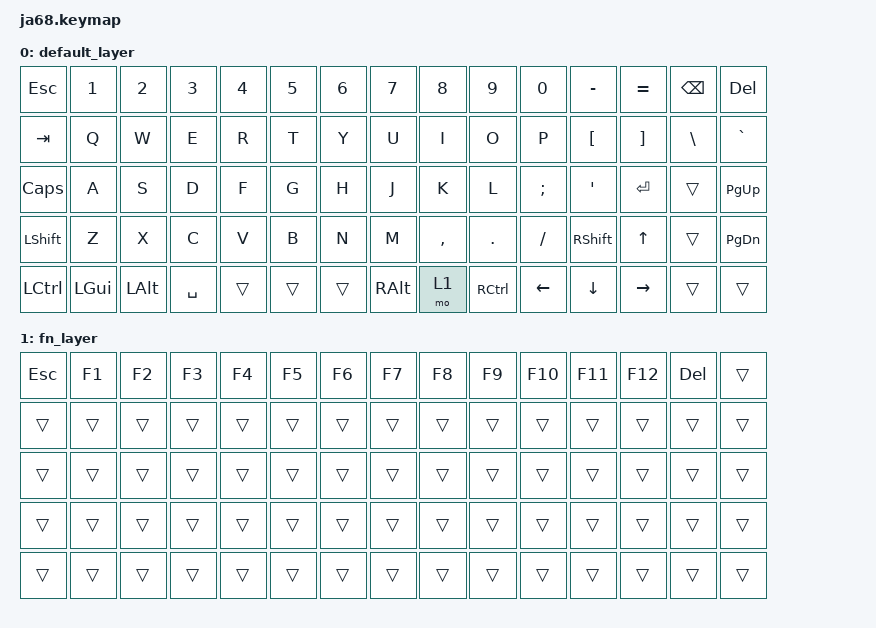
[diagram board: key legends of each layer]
/ {
  keymap {
    compatible = "zmk,keymap";

    default_layer {
      bindings = <
        &kp ESC   &kp N1    &kp N2    &kp N3    &kp N4    &kp N5    &kp N6    &kp N7    &kp N8    &kp N9    &kp N0    &kp MINUS &kp EQUAL &kp BSPC  &kp DEL
        &kp TAB   &kp Q     &kp W     &kp E     &kp R     &kp T     &kp Y     &kp U     &kp I     &kp O     &kp P     &kp LBKT  &kp RBKT  &kp BSLH  &kp GRAVE
        &kp CAPS  &kp A     &kp S     &kp D     &kp F     &kp G     &kp H     &kp J     &kp K     &kp L     &kp SEMI  &kp SQT   &kp ENTER &trans    &kp PG_UP
        &kp LSHFT &kp Z     &kp X     &kp C     &kp V     &kp B     &kp N     &kp M     &kp COMMA &kp DOT   &kp SLASH &kp RSHFT &kp UP    &trans    &kp PG_DN
        &kp LCTRL &kp LGUI  &kp LALT  &kp SPACE &trans    &trans    &trans    &kp RALT  &mo 1     &kp RCTRL &kp LEFT  &kp DOWN  &kp RIGHT &trans    &trans
      >;
    };

    fn_layer {
      bindings = <
        &kp ESC   &kp F1    &kp F2    &kp F3    &kp F4    &kp F5    &kp F6    &kp F7    &kp F8    &kp F9    &kp F10   &kp F11   &kp F12   &kp DEL   &trans
        &trans    &trans    &trans    &trans    &trans    &trans    &trans    &trans    &trans    &trans    &trans    &trans    &trans    &trans    &trans
        &trans    &trans    &trans    &trans    &trans    &trans    &trans    &trans    &trans    &trans    &trans    &trans    &trans    &trans    &trans
        &trans    &trans    &trans    &trans    &trans    &trans    &trans    &trans    &trans    &trans    &trans    &trans    &trans    &trans    &trans
        &trans    &trans    &trans    &trans    &trans    &trans    &trans    &trans    &trans    &trans    &trans    &trans    &trans    &trans    &trans
      >;
    };
  };
};
